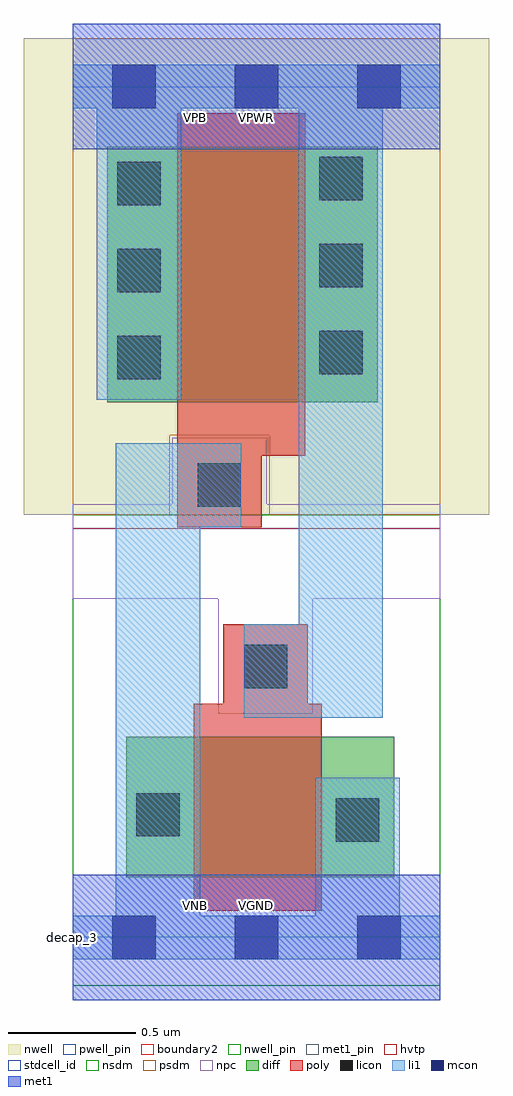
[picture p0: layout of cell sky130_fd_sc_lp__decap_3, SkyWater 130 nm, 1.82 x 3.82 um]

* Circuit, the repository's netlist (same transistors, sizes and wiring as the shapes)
* Copyright 2020 The SkyWater PDK Authors
*
* Licensed under the Apache License, Version 2.0 (the "License");
* you may not use this file except in compliance with the License.
* You may obtain a copy of the License at
*
*     https://www.apache.org/licenses/LICENSE-2.0
*
* Unless required by applicable law or agreed to in writing, software
* distributed under the License is distributed on an "AS IS" BASIS,
* WITHOUT WARRANTIES OR CONDITIONS OF ANY KIND, either express or implied.
* See the License for the specific language governing permissions and
* limitations under the License.
*
* SPDX-License-Identifier: Apache-2.0

.SUBCKT sky130_fd_sc_lp__decap_3 VGND VNB VPB VPWR
*.PININFO VGND:I VNB:I VPB:I VPWR:I
MI1 VGND VPWR VGND VNB sky130_fd_pr__nfet_01v8 m=1 w=0.55U l=0.5U mult=1 sa=0.265
+ sb=0.265 sd=0.28 area=0.063 perim=1.14
MI2 VPWR VGND VPWR VPB sky130_fd_pr__pfet_01v8_hvt m=1 w=1.0U l=0.5U mult=1 sa=0.265
+ sb=0.265 sd=0.28 area=0.063 perim=1.14
.ENDS sky130_fd_sc_lp__decap_3

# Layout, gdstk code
import gdstk
lib = gdstk.Library(unit=1e-6, precision=1e-09)
def R(c, l, rs):  # rectangles x0, y0, x1, y1
    for r in rs: c.add(gdstk.rectangle(r[:2], r[2:], *l))
def A(c, l, x, y, w, h, nx, ny, dx, dy):  # array of equal rectangles
    R(c, l, [(x+i*dx, y+j*dy, x+i*dx+w, y+j*dy+h) for i in range(nx) for j in range(ny)])
def P(c, l, *ps):  # polygons
    for p in ps: c.add(gdstk.Polygon(p, *l))
nwell_pin = (64, 16)
nwell = (64, 20)
diff = (65, 20)
poly = (66, 20)
licon = (66, 44)
li1 = (67, 20)
mcon = (67, 44)
met1_pin = (68, 16)
met1 = (68, 20)
hvtp = (78, 44)
stdcell_id = (81, 4)
nsdm = (93, 44)
psdm = (94, 20)
npc = (95, 20)
pwell_pin = (122, 16)
boundary2 = (236, 0)

sky130_fd_sc_lp__decap_3 = lib.new_cell('sky130_fd_sc_lp__decap_3')
R(sky130_fd_sc_lp__decap_3, nwell_pin, [(0,3.085,1.44,3.33)])
R(sky130_fd_sc_lp__decap_3, nwell, [(-0.19,1.655,1.63,3.52)])
R(sky130_fd_sc_lp__decap_3, diff, [(0.21,0.235,1.26,0.785), (0.135,2.095,1.195,3.095)])
P(sky130_fd_sc_lp__decap_3, poly, [(0.91,3.225),(0.41,3.225),(0.41,1.605),(0.74,1.605),(0.74,1.885),(0.91,1.885)],
  [(0.975,0.915),(0.92,0.915),(0.92,1.225),(0.59,1.225),(0.59,0.915),(0.475,0.915),(0.475,0.105),(0.975,0.105)])
A(sky130_fd_sc_lp__decap_3, licon, 0.175, 2.185, 0.17, 0.17, 1, 3, 0, 0.34)
A(sky130_fd_sc_lp__decap_3, licon, 0.965, 2.205, 0.17, 0.17, 1, 3, 0, 0.34)
R(sky130_fd_sc_lp__decap_3, licon, [(1.03,0.375,1.2,0.545), (0.25,0.395,0.42,0.565), (0.67,0.975,0.84,1.145), (0.49,1.685,0.66,1.855)])
P(sky130_fd_sc_lp__decap_3, li1, [(1.44,3.415),(0,3.415),(0,3.245),(0.095,3.245),(0.095,2.105),(0.425,2.105),(0.425,3.245),(0.885,3.245),(0.885,1.225),(0.67,1.225),(0.67,0.86),(1.215,0.86),(1.215,3.245),(1.44,3.245)],
  [(1.44,0.085),(1.28,0.085),(1.28,0.625),(0.95,0.625),(0.95,0.085),(0.5,0.085),(0.5,1.605),(0.66,1.605),(0.66,1.935),(0.17,1.935),(0.17,0.085),(0,0.085),(0,-0.085),(1.44,-0.085)])
A(sky130_fd_sc_lp__decap_3, mcon, 0.155, -0.085, 0.17, 0.17, 3, 2, 0.48, 3.33)
R(sky130_fd_sc_lp__decap_3, met1_pin, [(0,0,1.44,0.245), (0,3.085,1.44,3.33)])
R(sky130_fd_sc_lp__decap_3, met1, [(0,-0.245,1.44,0.245), (0,3.085,1.44,3.575)])
R(sky130_fd_sc_lp__decap_3, hvtp, [(0,1.6,1.44,3.33)])
R(sky130_fd_sc_lp__decap_3, stdcell_id, [(0,0,1.44,3.33)])
R(sky130_fd_sc_lp__decap_3, nsdm, [(0,-0.19,1.44,1.655)])
P(sky130_fd_sc_lp__decap_3, psdm, [(1.44,3.52),(0,3.52),(0,1.655),(0.38,1.655),(0.38,1.965),(0.77,1.965),(0.77,1.655),(1.44,1.655)])
P(sky130_fd_sc_lp__decap_3, npc, [(1.44,1.695),(0.76,1.695),(0.76,1.955),(0.39,1.955),(0.39,1.695),(0,1.695),(0,1.325),(0.57,1.325),(0.57,0.875),(0.94,0.875),(0.94,1.325),(1.44,1.325)])
R(sky130_fd_sc_lp__decap_3, pwell_pin, [(0,0,1.44,0.245)])
R(sky130_fd_sc_lp__decap_3, boundary2, [(0,0,1.44,3.33)])
sky130_fd_sc_lp__decap_3.add(gdstk.Label('VNB', (0.48,0.123), layer=64, texttype=59))
sky130_fd_sc_lp__decap_3.add(gdstk.Label('VPB', (0.48,3.208), layer=64, texttype=5))
sky130_fd_sc_lp__decap_3.add(gdstk.Label('decap_3', (0,0), layer=83, texttype=44))
sky130_fd_sc_lp__decap_3.add(gdstk.Label('VGND', (0.72,0.123), layer=68, texttype=5))
sky130_fd_sc_lp__decap_3.add(gdstk.Label('VPWR', (0.72,3.208), layer=68, texttype=5))

lib.write_gds('sky130_fd_sc_lp__decap_3.gds')
